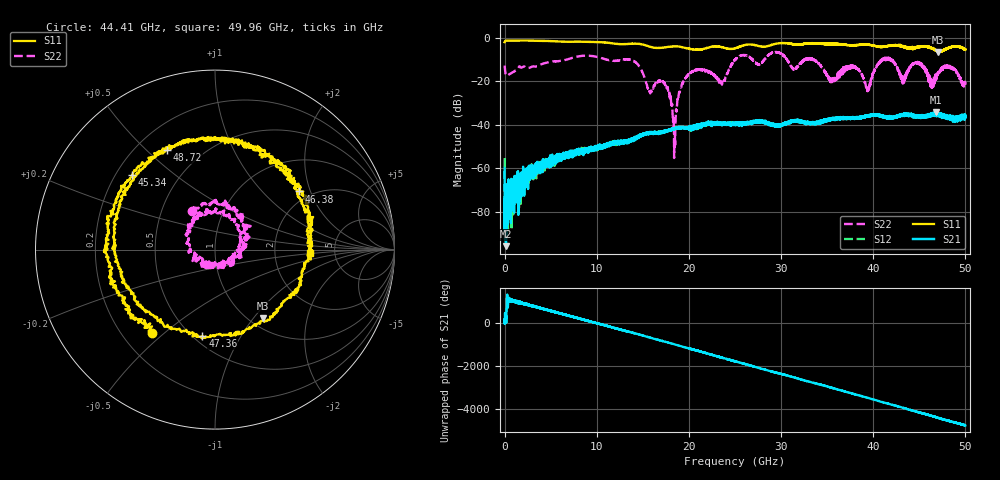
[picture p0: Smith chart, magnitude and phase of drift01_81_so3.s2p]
!Created with skrf (http://scikit-rf.org).
# Hz S RI R 50.0
!freq ReS11 ImS11 ReS21 ImS21 ReS12 ImS12 ReS22 ImS22
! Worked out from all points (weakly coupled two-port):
!   10001 points, 300 kHz to 50 GHz, reference 50 ohm
!   highest |S21| = -34.36 dB at 46.79 GHz (marker M1); lowest = -95.9 dB at 150.3 MHz (marker M2)
!   lowest |S11| = -6.6 dB at 47.07 GHz (marker M3), VSWR 2.75, Z = 57 - j55.8 ohm
!   |S11| at or under -10 dB: nowhere
!   |S22| runs from -55.4 to -6.6 dB; largest |S21 - S12| = 0.0035
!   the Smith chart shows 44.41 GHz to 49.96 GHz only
!   S11 on the Smith chart (normalised r, x): 44.41 GHz: 0.32, -0.46; 45.34 GHz: 0.27, +0.36; 46.38 GHz: 1.75, +1.67; 47.36 GHz: 0.56, -0.70; 48.72 GHz: 0.33, +0.58; 49.96 GHz: 3.25, -0.19
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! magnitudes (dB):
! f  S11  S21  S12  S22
! 300 kHz  -2.1  -59.9  -55.5  -12.9
! 150.3 MHz  -1.5  -95.9  -70.6  -17.3
! 8.335 GHz  -1.9  -52.0  -53.0  -8.5
! 16.67 GHz  -4.8  -43.5  -43.9  -20.0
! 17.68 GHz  -4.4  -42.7  -43.0  -22.9
! 18.45 GHz  -4.1  -42.0  -41.8  -43.1
! 19.97 GHz  -5.2  -41.4  -41.7  -16.9
! 23.63 GHz  -4.6  -39.4  -39.4  -20.7
! 25 GHz  -5.0  -39.7  -39.6  -10.3
! 33.34 GHz  -2.6  -39.6  -39.3  -10.1
! 39.43 GHz  -3.3  -36.0  -36.0  -23.6
! 41.67 GHz  -3.8  -36.8  -36.6  -10.0
! 43.24 GHz  -4.1  -35.8  -35.5  -19.4
! 44.41 GHz  -4.7  -36.1  -35.7  -12.0
! 45.34 GHz  -4.1  -36.7  -36.5  -12.8
! 46.38 GHz  -4.9  -35.4  -35.6  -20.3
! 46.79 GHz  -6.0  -34.4  -35.5  -18.1
! 47.07 GHz  -6.6  -35.3  -34.5  -16.1
! 47.36 GHz  -6.3  -35.7  -35.7  -15.4
! 48.72 GHz  -4.2  -36.7  -36.8  -14.7
! 49.96 GHz  -5.5  -35.8  -37.2  -20.4
! 50 GHz  -5.6  -36.4  -36.3  -21.8
